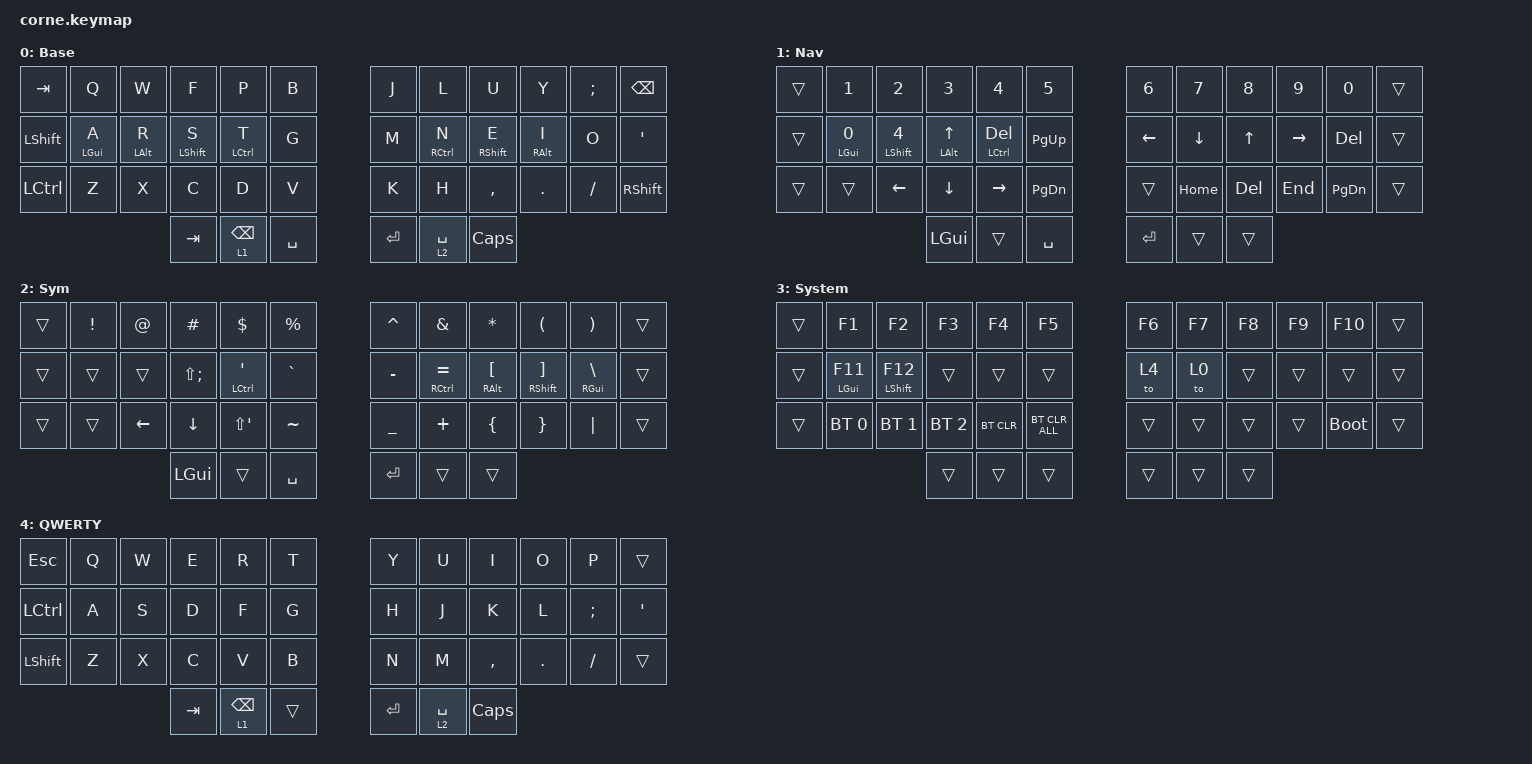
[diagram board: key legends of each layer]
#include <behaviors.dtsi>
#include <dt-bindings/zmk/bt.h>
#include <dt-bindings/zmk/keys.h>

#define DEF 0
#define NAV 1
#define SYM 2
#define ADJ 3

//testing mouse movement and scroll binds...

/ {
    behaviors {
        hm: homerow_mods {
            compatible = "zmk,behavior-hold-tap";
            label = "HOMEROW_MODS";
            #binding-cells = <2>;
            tapping-term-ms = <200>;
            quick_tap_ms = <0>;
            flavor = "tap-preferred";
            bindings = <&kp>, <&kp>;

            quick-tap-ms = <180>;
            global-quick-tap;
        };

        para: para {
            compatible = "zmk,behavior-tap-dance";
            label = "PARA";
            #binding-cells = <0>;
            bindings = <&kp LEFT_PARENTHESIS>, <&kp RIGHT_PARENTHESIS>;
        };

        caps: caps {
            compatible = "zmk,behavior-caps-word";
            label = "CAPS";
            #binding-cells = <0>;
            continue-list = <MINUS BACKSPACE>;
        };

        paraless: paraless {
            compatible = "zmk,behavior-mod-morph";
            label = "PARALESS";
            bindings = <&kp LEFT_PARENTHESIS>, <&kp LESS_THAN>;

            #binding-cells = <0>;
            mods = <(MOD_LSFT)>;
        };

        paragreat: paragreat {
            compatible = "zmk,behavior-mod-morph";
            label = "PARAGREAT";
            bindings = <&kp RIGHT_PARENTHESIS>, <&kp GREATER_THAN>;

            #binding-cells = <0>;
            mods = <(MOD_LSFT)>;
        };
    };

    combos {
        compatible = "zmk,combos";

        escape {
            bindings = <&kp ESCAPE>;
            key-positions = <13 29>;
        };

        perc {
            bindings = <&kp PERCENT>;
            key-positions = <5 17>;
        };

        equal {
            bindings = <&kp EQUAL>;
            key-positions = <28 16>;
        };

        dollar {
            bindings = <&kp DOLLAR>;
            key-positions = <4 16>;
        };

        pound {
            bindings = <&kp POUND>;
            key-positions = <3 15>;
        };

        at {
            bindings = <&kp AT>;
            key-positions = <2 14>;
        };

        backslash {
            bindings = <&kp BACKSLASH>;
            key-positions = <26 14>;
        };

        copy {
            bindings = <&kp K_COPY>;
            key-positions = <28 27>;
        };

        paste {
            bindings = <&kp K_PASTE>;
            key-positions = <26 27>;
        };

        star {
            bindings = <&kp STAR>;
            key-positions = <8 20>;
        };

        slash {
            bindings = <&kp SLASH>;
            key-positions = <32 20>;
        };

        plus {
            bindings = <&kp PLUS>;
            key-positions = <7 19>;
        };

        minus {
            bindings = <&kp KP_MINUS>;
            key-positions = <31 19>;
        };

        underscore {
            bindings = <&kp UNDER>;
            key-positions = <30 18>;
        };

        leftbrack {
            bindings = <&kp LEFT_BRACKET>;
            key-positions = <31 32>;
        };

        rightbrack {
            bindings = <&kp RIGHT_BRACKET>;
            key-positions = <33 32>;
        };

        para-less {
            bindings = <&paraless>;
            key-positions = <20 19>;
        };

        para-great {
            bindings = <&paragreat>;
            key-positions = <20 21>;
        };
    };

    //

    keymap {
        compatible = "zmk,keymap";

        DEF {
            display-name = "Base";

            // -----------------------------------------------------------------------------------------
            // |  TAB |  Q  |  W  |  F  |  P  |  B  |   |  J  |  L   |  U  |  Y  |  ;  | BKSP |
            // | CTRL |  A  |  R  |  S  |  T  |  G  |   |  M  |  N   |  E  |  I  |  O  | BKSP |
            // |LSHFT |  Z  |  X  |  C  |  D  |  V  |   |  K  |  H   |  ,  |  .  |  /  | BKSP |
            // | GUI | CTRL | SHFT | LWR | SPC |   | ENT | RSE  | BKSP | ALT | ESC |

            bindings = <
&kp TAB    &kp Q       &kp W           &kp F             &kp P            &kp B        &kp J    &kp L        &kp U        &kp Y       &kp SEMICOLON  &kp BACKSPACE
&kp LSHFT  &hm LGUI A  &hm LEFT_ALT R  &hm LEFT_SHIFT S  &hm LCTRL T      &kp G        &kp M    &hm RCTRL N  &hm RSHFT E  &hm RALT I  &kp O          &kp SQT
&kp LCTRL  &kp Z       &kp X           &kp C             &kp D            &kp V        &kp K    &kp H        &kp COMMA    &kp DOT     &kp FSLH       &kp RSHFT
                                       &kp TAB           &lt 1 BACKSPACE  &kp SPACE    &kp RET  &lt 2 SPACE  &kp CAPS
            >;
        };

        NAV {
            display-name = "Nav";

            // -----------------------------------------------------------------------------------------
            // |  TAB |  1  |  2  |  3  |  4  |  5  |   |  6  |  7  |  8  |  9  |  0  | BKSP |
            // | BTCLR| BT1 | BT2 | BT3 | BT4 | BT5 |   | LFT | DWN |  UP | RGT |     |      |
            // | SHFT |     |     |     |     |     |   |     |     |     |     |     |      |
            // | GUI | CTRL | SHFT | LWR | SPC |   | ENT | RSE  | BKSP | ALT | ESC |

            bindings = <
&trans  &kp N1       &kp N2        &kp N3             &kp N4           &kp N5           &kp N6          &kp N7    &kp N8        &kp N9           &kp N0         &trans
&trans  &hm LGUI N0  &hm LSHFT N4  &hm LALT UP_ARROW  &hm LCTRL DEL    &kp PAGE_UP      &kp LEFT_ARROW  &kp DOWN  &kp UP_ARROW  &kp RIGHT_ARROW  &kp DEL        &trans
&trans  &trans       &kp LEFT      &kp DOWN           &kp RIGHT_ARROW  &kp PAGE_DOWN    &trans          &kp HOME  &kp DELETE    &kp END          &kp PAGE_DOWN  &trans
                                   &kp LGUI           &trans           &kp SPACE        &kp RET         &trans    &trans
            >;
        };

        SYM {
            display-name = "Sym";

            // -----------------------------------------------------------------------------------------
            // |  TAB |  !  |  @  |  #  |  $  |  %  |   |  ^  |  &  |  *  |  (  |  )  | BKSP |
            // | CTRL |     |     |     |     |     |   |  -  |  =  |  [  |  ]  |  \  |  `   |
            // | SHFT |     |     |     |     |     |   |  _  |  +  |  {  |  }  | "|" |  ~   |
            //                    | GUI |     | SPC |   | ENT |     | ALT |

            bindings = <
&trans  &kp EXCL  &kp AT          &kp HASH           &kp DLLR            &kp PRCNT    &kp CARET  &kp AMPS         &kp ASTRK      &kp LEFT_PARENTHESIS  &kp RPAR       &trans
&trans  &trans    &trans          &kp LS(SEMICOLON)  &hm LCTRL SQT       &kp GRAVE    &kp MINUS  &hm RCTRL EQUAL  &hm RALT LBKT  &hm RSHFT RBKT        &hm RGUI BSLH  &trans
&trans  &trans    &kp LEFT_ARROW  &kp DOWN_ARROW     &kp LS(APOSTROPHE)  &kp TILDE    &kp UNDER  &kp PLUS         &kp LBRC       &kp RBRC              &kp PIPE       &trans
                                  &kp LGUI           &trans              &kp SPACE    &kp RET    &trans           &trans
            >;
        };

        ADJ {
            display-name = "System";
            bindings = <
&trans  &kp F1        &kp F2         &kp F3        &kp F4      &kp F5            &kp F6  &kp F7  &kp F8  &kp F9  &kp F10      &trans
&trans  &hm LGUI F11  &hm LSHFT F12  &trans        &trans      &trans            &to 4   &to 0   &trans  &trans  &trans       &trans
&trans  &bt BT_SEL 0  &bt BT_SEL 1   &bt BT_SEL 2  &bt BT_CLR  &bt BT_CLR_ALL    &trans  &trans  &trans  &trans  &bootloader  &trans
                                     &trans        &trans      &trans            &trans  &trans  &trans
            >;
        };

        QWERTY {
            bindings = <
&kp ESC    &kp Q  &kp W  &kp E    &kp R            &kp T     &kp Y      &kp U        &kp I      &kp O    &kp P     &trans
&kp LCTRL  &kp A  &kp S  &kp D    &kp F            &kp G     &kp H      &kp J        &kp K      &kp L    &kp SEMI  &kp APOS
&kp LSHFT  &kp Z  &kp X  &kp C    &kp V            &kp B     &kp N      &kp M        &kp COMMA  &kp DOT  &kp FSLH  &trans
                         &kp TAB  &lt 1 BACKSPACE  &trans    &kp ENTER  &lt 2 SPACE  &kp CAPS
            >;
        };
    };

    conditional_layers {
        compatible = "zmk,conditional-layers";

        l3 {
            if-layers = <1 2>;
            then-layer = <3>;
        };
    };
};
